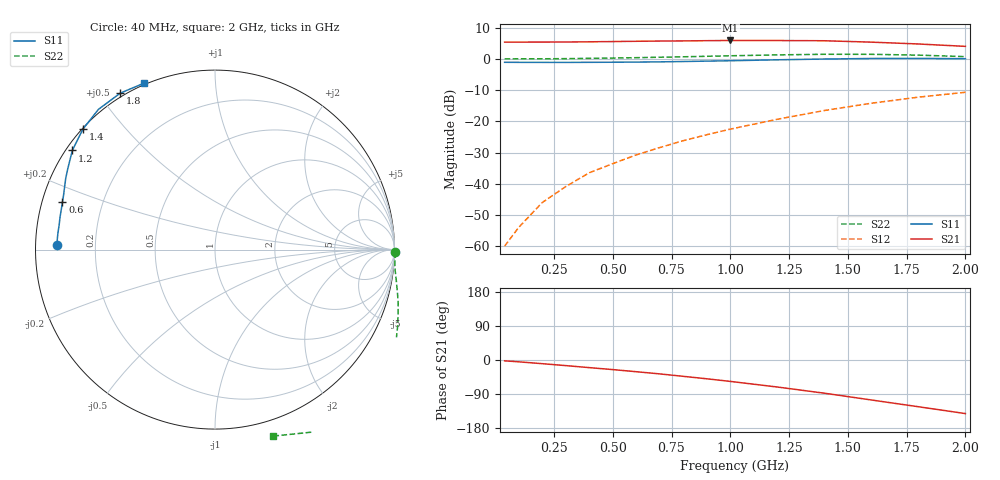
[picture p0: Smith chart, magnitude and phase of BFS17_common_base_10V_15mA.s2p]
! Filename:  BFS17CBI.S2P  Version:  2.0
! Philips part #: BFS17  Date: Jul 1990
! Bias condition: Vce=10V, Ic=15mA
! COMMON BASE
#  MHz  S  MA  R  50
! Freq  S11  S21  S12  S22
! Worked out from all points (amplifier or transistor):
!   16 points, 40 MHz to 2 GHz, reference 50 ohm
!   highest |S21| = 5.9 dB at 1 GHz (marker M1)
!   |S21| within 3 dB of that: start of sweep to end of sweep
!   unconditionally stable (mu >= 1): nowhere
!   at 200 MHz: K = -0.44, MSG = 25.7 dB, |S12| = -46.0 dB
!   at 800 MHz: K = -0.82, MSG = 16.0 dB, |S12| = -26.2 dB
!   at 2 GHz: K = -0.13, MSG = 7.4 dB, |S12| = -10.7 dB
!   S11 on the Smith chart (normalised r, x): 40 MHz: 0.06, +0.01; 600 MHz: 0.06, +0.15; 1.2 GHz: 0.02, +0.31; 1.4 GHz: 0.00, +0.39; 1.8 GHz: -0.01, +0.56; 2 GHz: -0.01, +0.66
40  0.883 178.5  1.858 -2.2  0.001 82.3  1.001 -0.9
100  0.881 176.9  1.859 -4.8  0.002 92.5  1.005 -2.0
200  0.88 174.0  1.861 -9.7  0.005 111.1  1.005 -4.3
300  0.879 171.1  1.867 -14.8  0.009 124.7  1.01 -6.5
400  0.882 168.3  1.879 -20.1  0.015 129.2  1.021 -8.9
500  0.885 165.4  1.898 -25.3  0.021 133.7  1.033 -11.3
600  0.89 162.7  1.917 -30.9  0.029 136.2  1.047 -13.7
700  0.897 160.1  1.933 -36.7  0.038 137.0  1.064 -16.4
800  0.909 157.1  1.944 -43.1  0.049 137.4  1.081 -19.3
900  0.922 154.4  1.959 -49.6  0.061 137.6  1.102 -22.5
1000  0.935 151.4  1.976 -56.5  0.075 137.0  1.123 -25.8
1200  0.968 145.2  1.971 -71.3  0.108 134.7  1.16 -33.5
1400  0.996 137.7  1.954 -87.6  0.149 130.3  1.187 -42.4
1600  1.016 129.7  1.857 -105.5  0.195 125.3  1.185 -51.9
1800  1.019 121.2  1.735 -123.3  0.244 118.3  1.15 -62.2
2000  1.008 113.2  1.589 -141.4  0.292 111.2  1.088 -72.8
